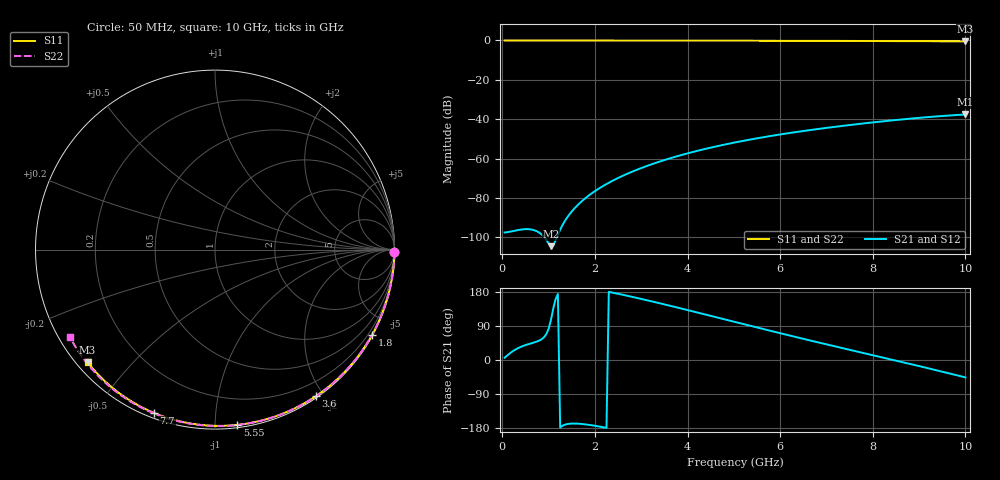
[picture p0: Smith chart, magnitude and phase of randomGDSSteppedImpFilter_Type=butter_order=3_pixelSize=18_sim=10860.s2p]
! freq	dB(S11)	phase(S11)	dB(S12)	phase(S12)
!  dB(S21)	phase(S21)	dB(S22)	phase(S22)
!S-par simulation data
#  GHz  S  DB  R 50
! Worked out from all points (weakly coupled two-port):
!   200 points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, 50 MHz to 10 GHz, reference 50 ohm
!   highest |S21| = -37.58 dB at 10 GHz (marker M1); lowest = -104.4 dB at 1.05 GHz (marker M2)
!   lowest |S11| = -0.5 dB at 10 GHz (marker M3), VSWR 37.11, Z = 1.54 - j18.9 ohm
!   |S11| at or under -10 dB: nowhere
!   |S22| runs from -0.5 to 0.0 dB; largest |S21 - S12| = 0
!   S11 on the Smith chart (normalised r, x): 50 MHz: open; 1.8 GHz: 0.03, -3.95; 3.6 GHz: 0.02, -1.90; 5.55 GHz: 0.02, -1.13; 7.7 GHz: 0.02, -0.69; 10 GHz: 0.03, -0.38
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0.05  -0.00 -0.8  -97.47 6.1  -97.47 6.1  -0.00 -0.9
0.55  -0.01 -8.8  -95.77 41.3  -95.77 41.3  -0.01 -9.5
1.05  -0.02 -16.7  -104.41 105.3  -104.41 105.3  -0.02 -18.0
1.75  -0.04 -27.6  -80.91 -169.3  -80.91 -169.3  -0.04 -29.8
1.8  -0.04 -28.4  -79.93 -170.0  -79.93 -170.0  -0.04 -30.6
1.95  -0.04 -30.7  -77.28 -172.6  -77.28 -172.6  -0.04 -33.1
2.1  -0.04 -33.0  -74.96 -175.6  -74.96 -175.6  -0.05 -35.6
2.25  -0.05 -35.3  -72.87 -179.1  -72.87 -179.1  -0.05 -38.1
2.45  -0.05 -38.4  -70.39 176.0  -70.39 176.0  -0.05 -41.3
2.65  -0.05 -41.4  -68.16 170.8  -68.16 170.8  -0.06 -44.6
2.9  -0.06 -45.2  -65.68 164.0  -65.68 164.0  -0.06 -48.6
3.4  -0.07 -52.6  -61.45 149.7  -61.45 149.7  -0.08 -56.6
3.6  -0.07 -55.5  -59.98 143.8  -59.98 143.8  -0.08 -59.7
4.3  -0.09 -65.6  -55.51 122.7  -55.51 122.7  -0.10 -70.4
5.05  -0.12 -76.0  -51.64 99.6  -51.64 99.6  -0.13 -81.6
5.55  -0.14 -82.8  -49.46 84.3  -49.46 84.3  -0.15 -88.8
6.1  -0.16 -90.1  -47.34 67.7  -47.34 67.7  -0.17 -96.6
6.7  -0.19 -97.9  -45.30 50.0  -45.30 50.0  -0.20 -104.9
7.7  -0.25 -110.5  -42.38 21.2  -42.38 21.2  -0.27 -118.5
8.35  -0.30 -118.5  -40.73 2.7  -40.73 2.7  -0.33 -127.1
9.2  -0.38 -128.9  -38.88 -21.9  -38.88 -21.9  -0.41 -138.3
10  -0.47 -138.5  -37.58 -45.9  -37.58 -45.9  -0.50 -148.9
